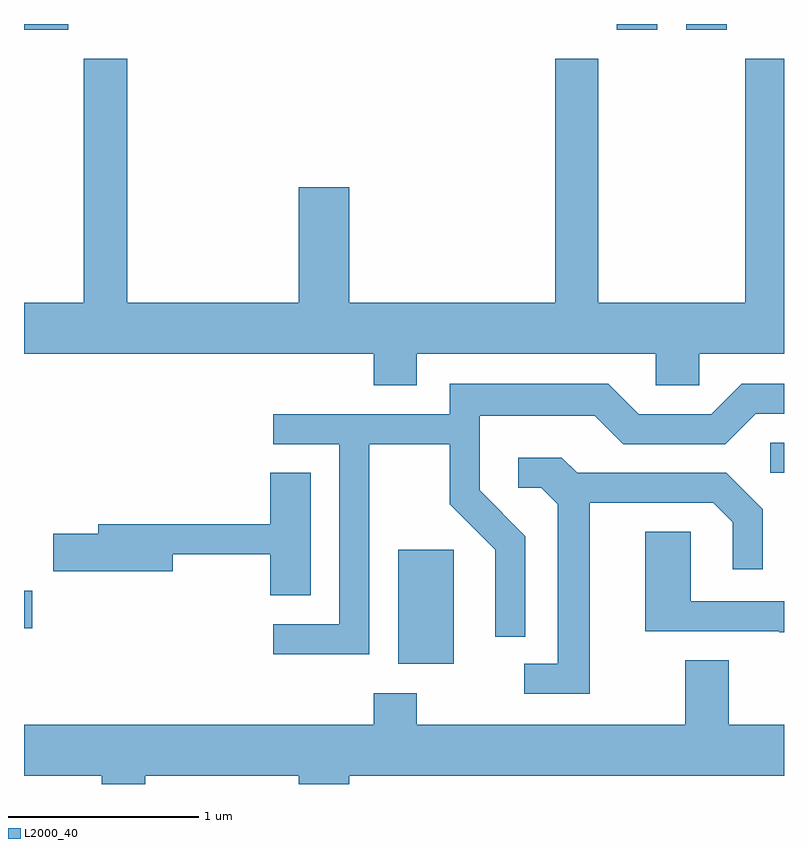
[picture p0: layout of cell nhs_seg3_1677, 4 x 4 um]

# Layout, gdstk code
import gdstk
lib = gdstk.Library(unit=1e-6, precision=1e-09)
def R(c, l, rs):  # rectangles x0, y0, x1, y1
    for r in rs: c.add(gdstk.rectangle(r[:2], r[2:], *l))
def P(c, l, *ps):  # polygons
    for p in ps: c.add(gdstk.Polygon(p, *l))
L2000_40 = (2000, 40)

nhs_seg3_1677 = lib.new_cell('nhs_seg3_1677')
R(nhs_seg3_1677, L2000_40, [(235.581,1206.526,235.874,1207.124), (233.611,1206.711,233.654,1206.909), (237.538,1207.531,237.611,1207.689), (233.611,1209.861,233.844,1209.892), (236.731,1209.861,236.944,1209.892), (237.096,1209.861,237.309,1209.892)])
P(nhs_seg3_1677, L2000_40, [(235.679,1208.156),(236.936,1208.156),(236.936,1207.991),(237.164,1207.991),(237.164,1208.156),(237.611,1208.156),(237.611,1209.709),(237.406,1209.709),(237.406,1208.424),(236.634,1208.424),(236.634,1209.709),(236.406,1209.709),(236.406,1208.424),(235.324,1208.424),(235.324,1209.034),(235.056,1209.034),(235.056,1208.424),(234.154,1208.424),(234.154,1209.709),(233.926,1209.709),(233.926,1208.424),(233.611,1208.424),(233.611,1208.156),(235.451,1208.156),(235.451,1207.991),(235.679,1207.991)],
  [(235.429,1207.681),(235.851,1207.681),(235.851,1207.364),(236.091,1207.124),(236.091,1206.668),(236.249,1206.668),(236.249,1207.197),(236.009,1207.437),(236.009,1207.831),(236.614,1207.831),(236.764,1207.681),(237.302,1207.681),(237.462,1207.841),(237.611,1207.841),(237.611,1207.999),(237.389,1207.999),(237.229,1207.839),(236.847,1207.839),(236.687,1207.999),(235.851,1207.999),(235.851,1207.839),(234.923,1207.839),(234.923,1207.681),(235.271,1207.681),(235.271,1206.734),(234.923,1206.734),(234.923,1206.576),(235.429,1206.576)],
  [(236.589,1207.371),(237.239,1207.371),(237.341,1207.269),(237.341,1207.023),(237.499,1207.023),(237.499,1207.337),(237.307,1207.529),(236.522,1207.529),(236.442,1207.609),(236.213,1207.609),(236.213,1207.451),(236.334,1207.451),(236.421,1207.364),(236.421,1206.524),(236.243,1206.524),(236.243,1206.366),(236.589,1206.366)],
  [(235.119,1207.529),(234.906,1207.529),(234.906,1207.259),(234.001,1207.259),(234.001,1207.209),(233.766,1207.209),(233.766,1207.011),(234.394,1207.011),(234.394,1207.101),(234.906,1207.101),(234.906,1206.886),(235.119,1206.886)],
  [(237.611,1206.854),(237.119,1206.854),(237.119,1207.219),(236.881,1207.219),(236.881,1206.696),(237.585,1206.696),(237.585,1206.691),(237.611,1206.691)],
  [(237.611,1206.204),(237.319,1206.204),(237.319,1206.544),(237.091,1206.544),(237.091,1206.204),(235.679,1206.204),(235.679,1206.369),(235.451,1206.369),(235.451,1206.204),(233.611,1206.204),(233.611,1205.936),(234.021,1205.936),(234.021,1205.892),(234.249,1205.892),(234.249,1205.936),(235.056,1205.936),(235.056,1205.892),(235.324,1205.892),(235.324,1205.936),(237.611,1205.936)])

lib.write_gds('nhs_seg3_1677.gds')
